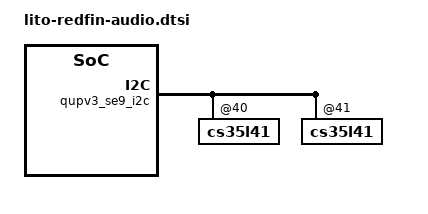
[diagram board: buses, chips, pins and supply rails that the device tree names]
// SPDX-License-Identifier: GPL-2.0
/* Copyright (c) 2019, The Linux Foundation. All rights reserved.
 *
 * This program is free software; you can redistribute it and/or modify
 * it under the terms of the GNU General Public License version 2 and
 * only version 2 as published by the Free Software Foundation.
 *
 * This program is distributed in the hope that it will be useful,
 * but WITHOUT ANY WARRANTY; without even the implied warranty of
 * MERCHANTABILITY or FITNESS FOR A PARTICULAR PURPOSE.  See the
 * GNU General Public License for more details.
 */

&bolero {
	status = "disabled";
};

&lito_snd {
	qcom,model = "sm7250-noextcodec-snd-card";

	qcom,audio-routing =
		"Stereo1 DMIC Mux", "Audio LDO Mic1",
		"Stereo2 DMIC Mux", "Audio LDO Mic2",
		"DSP_IN1", "Audio LDO Mic1",
		"DSP_IN2", "Audio LDO Mic1";
	qcom,bolero_audio_intf = <0>;

	qcom,wsa-max-devs = <0>;
	/delete-property/ qcom,wsa-devs;

	qcom,codec-max-aux-devs = <0>;
	/delete-property/ qcom,codec-aux-devs;

	audio_hac-amp-gpios = <&tlmm 5 0>;
};

&cdc_dmic01_gpios {
	status = "disabled";
};

&cdc_dmic23_gpios {
	status = "disabled";
};

&cdc_dmic45_gpios {
	status = "disabled";
};

&rx_swr_gpios {
	status = "disabled";
};

&tx_swr_gpios {
	status = "disabled";
};

&wcd938x_rst_lpi_gpio {
	status = "disabled";
};

&wcd938x_rst_gpio {
	status = "disabled";
};

&clock_audio_rx_1 {
	status = "disabled";
};

&clock_audio_rx_2 {
	status = "disabled";
};

&clock_audio_tx_1 {
	status = "disabled";
};

&clock_audio_tx_2 {
	status = "disabled";
};

&clock_audio_va_1 {
	status = "disabled";
};

&clock_audio_va_2 {
	status = "disabled";
};

/* Software workaround (b/143266999) */
&qupv3_se9_i2c {
	cs35l41@40 {
		cirrus,fwname-use-revid;
	};

	cs35l41@41 {
		cirrus,fwname-use-revid;
	};
};
